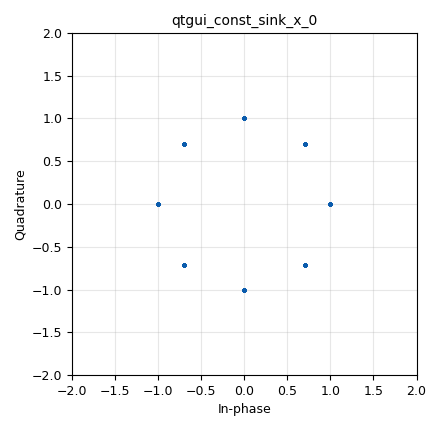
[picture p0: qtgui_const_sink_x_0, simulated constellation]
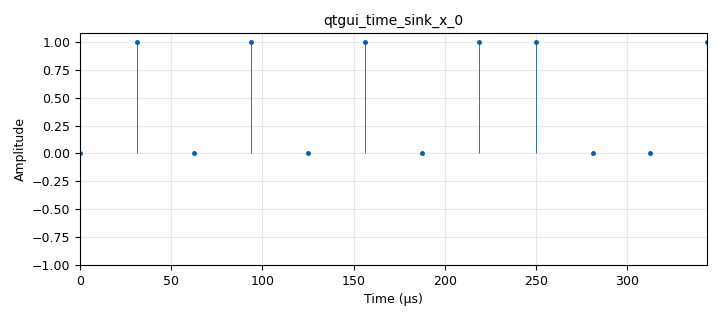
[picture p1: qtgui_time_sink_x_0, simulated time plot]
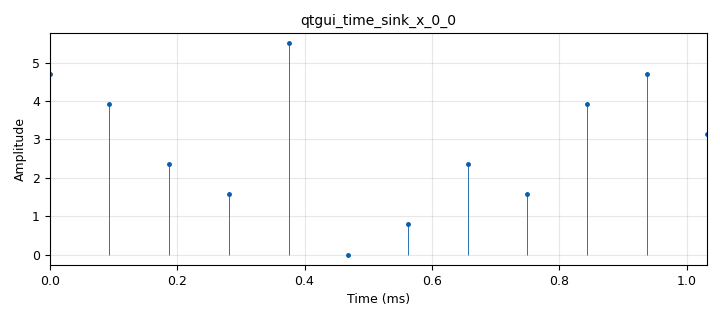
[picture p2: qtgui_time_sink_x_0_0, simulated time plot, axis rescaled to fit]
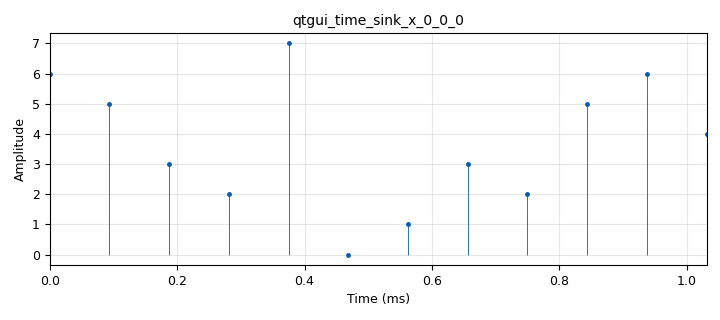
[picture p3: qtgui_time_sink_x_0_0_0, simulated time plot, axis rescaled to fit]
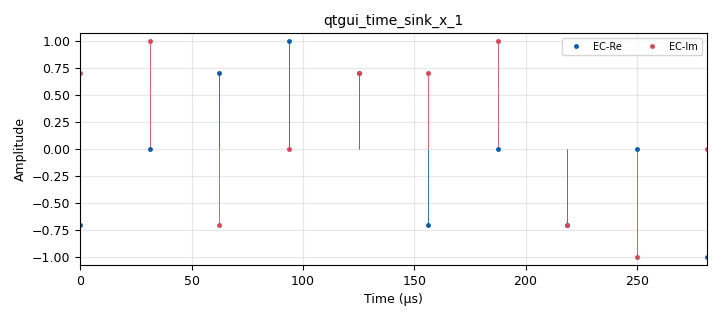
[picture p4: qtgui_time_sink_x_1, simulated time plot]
options:
  parameters:
    author: labcom
    generate_options: qt_gui
    id: default
    output_language: python
    title: Not titled yet
  states: {}

blocks:
- name: M
  id: variable
  parameters:
    value: '8'
  states: {}
- name: Nbs
  id: variable
  parameters:
    value: int(math.log(M,2))
  states: {}
- name: Rb
  id: variable
  parameters:
    value: '32000'
  states: {}
- name: Rs
  id: variable
  parameters:
    value: Rb/Nbs
  states: {}
- name: Sps
  id: variable
  parameters:
    value: len(h)
  states: {}
- name: h
  id: variable
  parameters:
    value: (1,1,1,1,1,1,1,1)
  states: {}
- name: samp_rate
  id: variable
  parameters:
    value: Rs*Sps
  states: {}
- name: analog_const_source_x_0
  id: analog_const_source_x
  parameters:
    const: '1'
    type: float
  states: {}
- name: analog_random_source_x_0
  id: analog_random_source_x
  parameters:
    max: '2'
    min: '0'
    num_samps: '1000'
    repeat: 'True'
    type: byte
  states: {}
- name: blocks_char_to_float_0
  id: blocks_char_to_float
  parameters:
    scale: '1'
  states: {}
- name: blocks_char_to_float_0_0
  id: blocks_char_to_float
  parameters:
    scale: '1'
  states: {}
- name: blocks_char_to_float_0_0_0
  id: blocks_char_to_float
  parameters:
    scale: '1'
  states: {}
- name: blocks_multiply_const_vxx_0
  id: blocks_multiply_const_vxx
  parameters:
    const: 2*math.pi/M
    type: float
  states: {}
- name: blocks_repack_bits_bb_0
  id: blocks_repack_bits_bb
  parameters:
    endianness: gr.GR_LSB_FIRST
    k: '1'
    l: Nbs
  states: {}
- name: epy_block_0
  id: epy_block
  parameters:
    _source_code: |
      """
      Embedded Python Blocks:

      Each time this file is saved, GRC will instantiate the first class it finds
      to get ports and parameters of your block. The arguments to __init__  will
      be the parameters. All of them are required to have default values!
      """

      import numpy as np
      from gnuradio import gr


      class blk(gr.sync_block):  # other base classes are basic_block, decim_block, interp_block
          """Embedded Python Block example - a simple multiply const"""

          def __init__(self, example_param=1.0):  # only default arguments here
              """Este blque fue creado """
              gr.sync_block.__init__(
                  self,
                  name='VCO complex',   # will show up in GRC
                  in_sig=[np.float32,  np.float32],
                  out_sig=[np.complex64]
              )
              # if an attribute with the same name as a parameter is found,
              # a callback is registered (properties work, too).
              self.example_param = example_param

          def work(self, input_items, output_items):
              Q=input_items[0]
              A=input_items[1]
              Sec=output_items[0]
              Sec[:]=A*np.exp(1.j*Q)
              return len(Sec)
    example_param: '1.0'
  states: {}
- name: import_0
  id: import
  parameters:
    imports: import math
  states: {}
- name: qtgui_const_sink_x_0
  id: qtgui_const_sink_x
  parameters:
    size: '1024'
    type: complex
  states: {}
- name: qtgui_time_sink_x_0
  id: qtgui_time_sink_x
  parameters:
    marker1: '0'
    size: '12'
    srate: Rb
    stemplot: 'True'
    type: float
  states: {}
- name: qtgui_time_sink_x_0_0
  id: qtgui_time_sink_x
  parameters:
    marker1: '0'
    size: '12'
    srate: Rs
    stemplot: 'True'
    type: float
  states: {}
- name: qtgui_time_sink_x_0_0_0
  id: qtgui_time_sink_x
  parameters:
    marker1: '0'
    size: '12'
    srate: Rs
    stemplot: 'True'
    type: float
  states: {}
- name: qtgui_time_sink_x_1
  id: qtgui_time_sink_x
  parameters:
    label1: EC-Re
    label2: EC-Im
    marker1: '0'
    marker2: '0'
    size: int(32/Nbs)
    srate: Rb
    stemplot: 'True'
    type: complex
    width1: '3'
    width2: '3'
  states: {}

connections:
- [analog_const_source_x_0, '0', epy_block_0, '1']
- [analog_random_source_x_0, '0', blocks_char_to_float_0, '0']
- [analog_random_source_x_0, '0', blocks_repack_bits_bb_0, '0']
- [blocks_char_to_float_0, '0', qtgui_time_sink_x_0, '0']
- [blocks_char_to_float_0_0, '0', blocks_multiply_const_vxx_0, '0']
- [blocks_char_to_float_0_0_0, '0', qtgui_time_sink_x_0_0_0, '0']
- [blocks_multiply_const_vxx_0, '0', epy_block_0, '0']
- [blocks_multiply_const_vxx_0, '0', qtgui_time_sink_x_0_0, '0']
- [blocks_repack_bits_bb_0, '0', blocks_char_to_float_0_0, '0']
- [blocks_repack_bits_bb_0, '0', blocks_char_to_float_0_0_0, '0']
- [epy_block_0, '0', qtgui_const_sink_x_0, '0']
- [epy_block_0, '0', qtgui_time_sink_x_1, '0']

metadata:
  file_format: 1
  grc_version: 3.10.5.1
